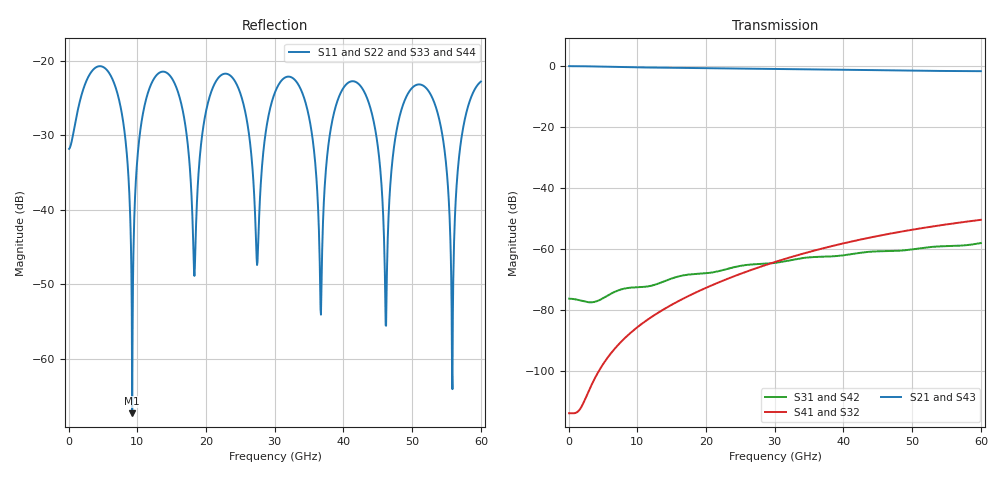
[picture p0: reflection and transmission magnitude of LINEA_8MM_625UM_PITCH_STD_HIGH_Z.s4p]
! TOUCHSTONE file generated by CST MICROWAVE STUDIO
! Date and time: Tue Oct 27 15:05:51 2026
! Project name: LINEA_8MM_200UM_PITCH_STD_HIGH_Z.cst
! Parameters = {CHANNEL_PITCH=0.625; GAP=0.015; L=8; L1=0.02; L2=0.086; L3=0.066; NCELL=1; PITCH=0.18; START_POSITION=0.08; W1=0.003; W2=0.004; W3=0.009; WG=0.04985; gap_oxr=0.00125; linbo3_thickness=0.0002; mtx=0.002; oxiDinE=0.0014; w=0.185; ws=0.035}
! Header version: 2024
! Port assignment regex: !\s*Touchstone port\s*([0-9]+)\s*=\s*(CST MWS port|CST DES external port|CST DES block port)\s*(.+)\s* \(\"(.*)\"\)(\s*mode\s*([0-9]+))?.*
! Touchstone port assignment:
! Touchstone port 1 = CST MWS port 1 ("")
! Touchstone port 2 = CST MWS port 2 ("")
! Touchstone port 3 = CST MWS port 3 ("")
! Touchstone port 4 = CST MWS port 4 ("")
# GHz S MA R 50
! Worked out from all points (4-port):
!   1000 points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, 60 MHz to 60 GHz, reference 50 ohm
!   strongest paths, dB at 60 MHz, 15.06 GHz, 30.06 GHz, 45.06 GHz, 60 GHz:
!     S21: -0.2, -0.7, -1.2, -1.5, -1.9
!     S43: -0.2, -0.7, -1.2, -1.5, -1.8
!     S41: -113.8, -78.2, -64.3, -55.8, -50.5
!     S32: -113.8, -78.2, -64.3, -55.8, -50.5
!     S31: -76.3, -69.7, -64.6, -60.8, -58.1
!     S42: -76.3, -69.7, -64.6, -60.8, -58.1
!   lowest |S11| = -67.3 dB at 9.24 GHz (marker M1), VSWR 1.00, Z = 50 - j0.0368 ohm
!   |S11| at or under -10 dB: start of sweep to end of sweep
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0.06  0.02563 2.9  0.9759 -1.2  0.0001527 -2.5  2.004e-06 176.4
      0.9759 -1.2  0.02563 2.9  2.003e-06 176.4  0.0001527 -2.5
      0.0001527 -2.5  2.04e-06 176.4  0.0257 2.9  0.9758 -1.2
      2.04e-06 176.4  0.0001527 -2.5  0.9758 -1.2  0.0257 2.9
9.24  0.0004325 -58.2  0.9364 177.9  0.0002328 -54.7  4.44e-05 -169.3
      0.9364 177.9  0.0004326 -58.2  4.44e-05 -169.3  0.0002328 -54.7
      0.0002328 -54.7  4.442e-05 -169.4  0.0004604 -58.9  0.9363 177.8
      4.442e-05 -169.4  0.0002328 -54.7  0.9363 177.8  0.0004608 -58.9
18.18  0.004852 -144.7  0.9098 4.0  0.0003855 -66.1  0.0001856 2.8
       0.9098 4.0  0.004852 -144.7  0.0001856 2.8  0.0003855 -66.1
       0.0003855 -66.1  0.0001856 2.8  0.004878 -144.5  0.9097 4.0
       0.0001856 2.8  0.0003855 -66.1  0.9097 4.0  0.004878 -144.5
27.42  0.004268 176.7  0.8814 -175.3  0.000562 -78.3  0.0004875 171.1
       0.8814 -175.3  0.004268 176.7  0.0004875 171.1  0.0005619 -78.3
       0.000562 -78.2  0.0004875 171.1  0.00433 176.5  0.8813 -175.4
       0.0004875 171.1  0.000562 -78.2  0.8813 -175.4  0.00433 176.5
36.6  0.003154 -132.5  0.857 6.5  0.0007414 -82.9  0.000992 -22.3
      0.857 6.5  0.003155 -132.5  0.000992 -22.3  0.0007414 -82.9
      0.0007415 -82.9  0.0009921 -22.3  0.003172 -135.5  0.857 6.4
      0.0009921 -22.3  0.0007415 -82.9  0.857 6.4  0.003173 -135.5
45.84  0.00776 -78.2  0.8378 -172.6  0.0009153 -86.0  0.001693 141.4
       0.8378 -172.6  0.007758 -78.2  0.001693 141.4  0.0009153 -86.0
       0.0009155 -86.1  0.001693 141.4  0.00746 -79.4  0.8377 -172.6
       0.001693 141.4  0.0009155 -86.1  0.8377 -172.6  0.00746 -79.4
60  0.07236 8.5  0.8081 -87.3  0.001243 83.2  0.002985 -158.7
    0.8081 -87.3  0.07236 8.5  0.002985 -158.7  0.001243 83.2
    0.001243 83.2  0.002985 -158.7  0.07231 8.0  0.8082 -87.3
    0.002985 -158.7  0.001243 83.2  0.8082 -87.3  0.07231 8.0
